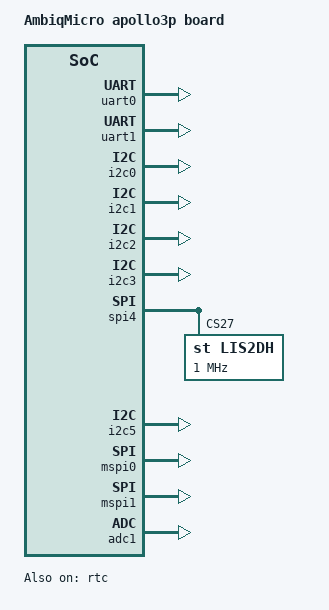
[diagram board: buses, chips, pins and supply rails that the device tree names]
/*
 * Copyright (c) 2020 CKT
 *
 * SPDX-License-Identifier: Apache-2.0
 */

/dts-v1/;
#include <ambiq/apollo3p.dtsi>


/ {
	model = "AmbiqMicro apollo3p board";
	compatible = "ambiq,apollo3p";

	chosen {
		zephyr,console = &uart0;
		zephyr,shell-uart = &uart0;
		zephyr,flash = &flash0;
		zephyr,sram = &sram0;
		zephyr,ccm = &ccm0;
		zephyr,flash-controller = &flash;
		zephyr,code-partition = &slot0_partition;
	};

	power-states {
		normal_sleep: state0 {
			compatible = "zephyr,power-state";
			power-state-name = "suspend-to-idle";
			substate-id = <0>;
			min-residency-us = <500>;
		};
		
		deep_sleep: state1 {
			compatible = "zephyr,power-state";
			power-state-name = "suspend-to-idle";
			substate-id = <1>;
			min-residency-us = <2000>;
		};
	};
	
	soc {
		flash-controller@40018000 {
			flash0: flash@00000000 {
				reg = <0x00000000 DT_SIZE_K(2048)>;
			};
		};
	};

	mspi-nor {
		compatible = "gd,mspi-nor";
		label = "MSPI-NOR";
		partitions {
			compatible = "fixed-partitions";
			#address-cells = <1>;
			#size-cells = <1>;

			update_partition: partition@0 {
				label = "update-img";
				reg = <0x0 DT_SIZE_K(2048)>;
			};

			watch_face_theme1_partition: partition@200000 {
				label = "watch-face-1";
				reg = <0x200000 DT_SIZE_K(2048)>;
			};
			watch_face_theme2_partition: partition@400000 {
				label = "watch-face-2";
				reg = <0x400000 DT_SIZE_K(2048)>;
			};
			watch_face_theme3_partition: partition@600000 {
				label = "watch-face-3";
				reg = <0x600000 DT_SIZE_K(2048)>;
			};
			watch_face_theme4_partition: partition@800000 {
				label = "watch-face-4";
				reg = <0x800000 DT_SIZE_K(2048)>;
			};
			watch_face_theme5_partition: partition@A00000 {
				label = "watch-face-5";
				reg = <0xA00000 DT_SIZE_K(2048)>;
			};

			storage_partition: partition@C00000 {
				label = "storage";
				reg = <0xC00000 DT_SIZE_K(2048)>;
			};

			user_partition: partition@E00000 {
				label = "user-date";
				reg = <0xE00000 DT_SIZE_K(50*1024)>;
			};
		};
	};
};

&flash0 {
	partitions {
		compatible = "fixed-partitions";
		#address-cells = <1>;
		#size-cells = <1>;

		otp_partition: partition@0 {
			label = "otp";
			reg = <0x0 DT_SIZE_K(48)>;
		};
		boot_partition: partition@c000 {
			label = "mcuboot";
			reg = <0x0000c000 DT_SIZE_K(192)>;
		};
		slot0_partition: partition@3c000 {
			label = "image-0";
			reg = <0x0003c000 DT_SIZE_K(1808)>;
		};
	};
};


&gpio0 {
    status = "okay";
};

&gpio1 {
    status = "okay";
};

&gpio2 {
    status = "okay";
};

&uart0 {
    status = "okay";
};

&uart1 {
    status = "okay";
};

&rtc {
    status = "okay";
};

&i2c0 {
    status = "okay";
};

&i2c1 {
    status = "okay";
};

&i2c2 {
    status = "okay";
};

&i2c3 {
    status = "okay";
};

&spi4 {
    status = "okay";

    lis2dh@1b {
	compatible = "st,lis2dh";
	label = "LIS2DH";
	reg = <0x1b>;
	spi-max-frequency = <1000000>;
	/* irq-gpios = <&gpio 0 0>; */
	/* disconnect-sdo-sa0-pull-up; */
    };
};

&i2c5 {
    status = "okay";
};

&mspi0 {
    status = "okay";
};

&mspi1 {
    status = "okay";
};

&adc1 {
    status = "okay";
};


